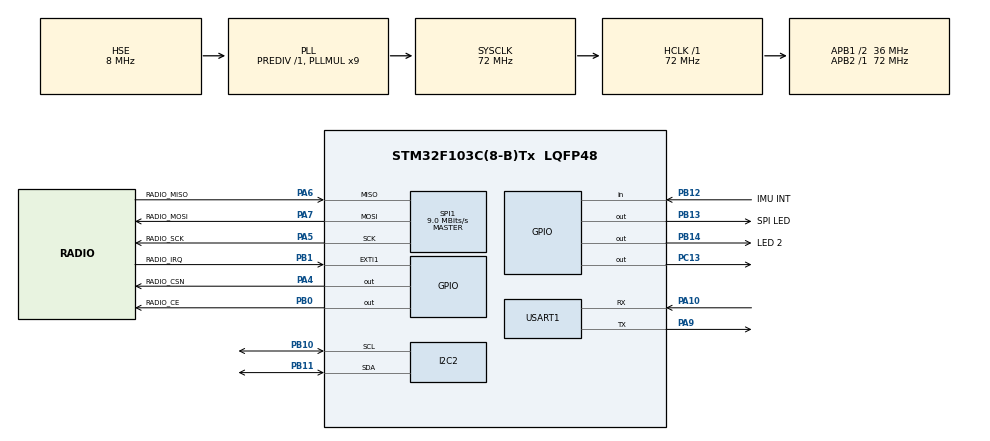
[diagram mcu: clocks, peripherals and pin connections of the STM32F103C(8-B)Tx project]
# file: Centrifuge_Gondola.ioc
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I2C2.I2C_Mode=I2C_Standard
Mcu.Family=STM32F1
Mcu.Name=STM32F103C(8-B)Tx
Mcu.Package=LQFP48
NVIC.EXTI1_IRQn=true\:0\:0\:false\:false\:true\:true\:true\:true
NVIC.I2C2_ER_IRQn=true\:0\:0\:false\:false\:true\:true\:true\:true
NVIC.I2C2_EV_IRQn=true\:0\:0\:false\:false\:true\:true\:true\:true
NVIC.PriorityGroup=NVIC_PRIORITYGROUP_4
NVIC.SPI1_IRQn=true\:0\:0\:false\:false\:true\:true\:true\:true
NVIC.USART1_IRQn=true\:0\:0\:false\:false\:true\:true\:true\:true
PA10.Mode=Asynchronous
PA10.Signal=USART1_RX
PA13.Mode=Serial_Wire
PA13.Signal=SYS_JTMS-SWDIO
PA14.Mode=Serial_Wire
PA14.Signal=SYS_JTCK-SWCLK
PA4.GPIO_Label=RADIO_CSN
PA4.GPIO_Speed=GPIO_SPEED_FREQ_HIGH
PA4.PinState=GPIO_PIN_SET
PA4.Signal=GPIO_Output
PA5.GPIO_Label=RADIO_SCK
PA5.Mode=Full_Duplex_Master
PA5.Signal=SPI1_SCK
PA6.GPIO_Label=RADIO_MISO
PA6.Mode=Full_Duplex_Master
PA6.Signal=SPI1_MISO
PA7.GPIO_Label=RADIO_MOSI
PA7.Mode=Full_Duplex_Master
PA7.Signal=SPI1_MOSI
PA9.Mode=Asynchronous
PA9.Signal=USART1_TX
PB0.GPIO_Label=RADIO_CE
PB0.GPIO_Speed=GPIO_SPEED_FREQ_HIGH
PB0.Signal=GPIO_Output
PB1.GPIO_Label=RADIO_IRQ
PB1.GPIO_ModeDefaultEXTI=GPIO_MODE_IT_FALLING
PB1.Signal=GPXTI1
PB10.Mode=I2C
PB10.Signal=I2C2_SCL
PB11.Mode=I2C
PB11.Signal=I2C2_SDA
PB12.GPIO_Label=IMU INT
PB12.Signal=GPIO_Input
PB13.GPIO_Label=SPI LED
PB13.Signal=GPIO_Output
PB14.GPIO_Label=LED 2
PB14.Signal=GPIO_Output
PC13-TAMPER-RTC.Signal=GPIO_Output
PD0-OSC_IN.Mode=HSE-External-Oscillator
PD0-OSC_IN.Signal=RCC_OSC_IN
PD1-OSC_OUT.Mode=HSE-External-Oscillator
PD1-OSC_OUT.Signal=RCC_OSC_OUT
ProjectManager.HeapSize=0x200
ProjectManager.StackSize=0x400
ProjectManager.TargetToolchain=STM32CubeIDE
RCC.AHBFreq_Value=72000000
RCC.APB1CLKDivider=RCC_HCLK_DIV2
RCC.APB1Freq_Value=36000000
RCC.APB1TimFreq_Value=72000000
RCC.APB2Freq_Value=72000000
RCC.APB2TimFreq_Value=72000000
RCC.HCLKFreq_Value=72000000
RCC.PLLMUL=RCC_PLL_MUL9
RCC.PLLSourceVirtual=RCC_PLLSOURCE_HSE
RCC.SYSCLKFreq_VALUE=72000000
RCC.SYSCLKSource=RCC_SYSCLKSOURCE_PLLCLK
RCC.USBFreq_Value=72000000
SPI1.BaudRatePrescaler=SPI_BAUDRATEPRESCALER_8
SPI1.CalculateBaudRate=9.0 MBits/s
SPI1.Direction=SPI_DIRECTION_2LINES
SPI1.Mode=SPI_MODE_MASTER
SPI1.VirtualType=VM_MASTER
USART1.VirtualMode=VM_ASYNC
board=custom

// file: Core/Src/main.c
/* USER CODE BEGIN Header */
/**
  ******************************************************************************
  * @file           : main.c
  * @brief          : Main program body
  ******************************************************************************
  * @attention
  *
  * Copyright (c) 2025 STMicroelectronics.
  * All rights reserved.
  *
  * This software is licensed under terms that can be found in the LICENSE file
  * in the root directory of this software component.
  * If no LICENSE file comes with this software, it is provided AS-IS.
  *
  ******************************************************************************
  */
/* USER CODE END Header */
#include "main.h"
#include "i2c.h"
#include "spi.h"
#include "usart.h"
#include "gpio.h"

/* USER CODE BEGIN Includes */
#include <stdio.h>
#include "nrf24l01p.h"
#include "MPU6050.h"
#include <string.h>
/* USER CODE END Includes */

/* USER CODE BEGIN PV */
uint8_t rx_buff[1] = {0};
uint8_t led = 0;
uint16_t ledTimer = 0;
uint16_t uartTimer = 0;

/* USER CODE END PV */

void SystemClock_Config(void);
/* USER CODE BEGIN PFP */

// for rx interrupt
void HAL_GPIO_EXTI_Callback(uint16_t GPIO_Pin);
void nrf24l01p_dump_registers(void);

/* USER CODE END PFP */

int main(void)
{

  /* MCU Configuration--------------------------------------------------------*/

  /* Reset of all peripherals, Initializes the Flash interface and the Systick. */
  HAL_Init();

  /* Configure the system clock */
  SystemClock_Config();

  /* Initialize all configured peripherals */
  MX_GPIO_Init();
  MX_SPI1_Init();
  MX_I2C2_Init();
  MX_USART1_UART_Init();
  /* USER CODE BEGIN 2 */
  MPU6050_Initialization();
  nrf24l01p_tx_init(2500, _250kbps);

  uint8_t en_aa = read_register(NRF24L01P_REG_EN_AA);
  en_aa &= ~(1 << 0);           // Disable AA on pipe 0
  write_register(NRF24L01P_REG_EN_AA, en_aa);

  /* USER CODE END 2 */

  /* Infinite loop */
  while (1)
  {

    /* USER CODE BEGIN 3 */

	  // transmit
	  if(MPU6050_DataReady() == 1)
		{
		    HAL_GPIO_TogglePin(GPIOB, GPIO_PIN_13);
			MPU6050_ProcessData(&MPU6050);
			uint8_t tx_data[NRF24L01P_PAYLOAD_LENGTH] = {MPU6050.acc_x_raw & 0xFF, (MPU6050.acc_x_raw >> 8) & 0xFF, MPU6050.acc_y_raw & 0xFF, (MPU6050.acc_y_raw >> 8) & 0xFF, MPU6050.acc_z_raw & 0xFF, (MPU6050.acc_z_raw >> 8) & 0xFF,
														MPU6050.temperature_raw & 0xFF, (MPU6050.temperature_raw >> 8) & 0xFF,
														MPU6050.gyro_x_raw & 0xFF, (MPU6050.gyro_x_raw >> 8) & 0xFF, MPU6050.gyro_y_raw & 0xFF, (MPU6050.gyro_y_raw >> 8) & 0xFF, MPU6050.gyro_z_raw & 0xFF, (MPU6050.gyro_z_raw >> 8) & 0xFF
													   };
			nrf24l01p_tx_transmit(tx_data);

//			char msg[128];
//
//			snprintf(msg, sizeof(msg),
//			         "AX:%.2f AY:%.2f AZ:%.2f TEMP:%.2f GX:%.2f GY:%.2f GZ:%.2f\r\n",
//			         MPU6050.acc_x_raw / 2048.f,
//			         MPU6050.acc_y_raw / 2048.f,
//			         MPU6050.acc_z_raw / 2048.f,
//			         MPU6050.temperature_raw / 340 + 36.53,
//			         MPU6050.gyro_x_raw / 65.5f,
//			         MPU6050.gyro_y_raw / 65.5f,
//			         MPU6050.gyro_z_raw / 65.5f);
//
//			HAL_UART_Transmit(&huart1, (uint8_t*)msg, strlen(msg), HAL_MAX_DELAY);

		}

//	  uint8_t tx_data[NRF24L01P_PAYLOAD_LENGTH];
//		nrf24l01p_tx_transmit(tx_data);
//
//		  // for serial monitor

//		HAL_Delay(100);

	  // LED loop always runs
	  ledTimer ++;
	  if(ledTimer > 200){
//		  nrf24l01p_dump_registers();
//		  HAL_UART_Transmit_IT(&huart1, &status, 1);
		  ledTimer = 0;
		  led = !led;
		  if(led){
			  HAL_GPIO_WritePin(GPIOC, GPIO_PIN_13, GPIO_PIN_SET);
		  }else{
			  HAL_GPIO_WritePin(GPIOC, GPIO_PIN_13, GPIO_PIN_RESET);
		  }
	  }

	  // if failed to send message, then reset the radio
	  if (tx_failed) {
		  tx_failed = false;
		  nrf24l01p_tx_init(2500, _250kbps);
	  }

	  // if radio lost power, reset the radio
	  uint8_t rf_ch = read_register(NRF24L01P_REG_RF_CH);
	  if (rf_ch != 0x64) {  // 0x64 is your desired channel
	      nrf24l01p_tx_init(2500, _250kbps);

	      uint8_t en_aa = read_register(NRF24L01P_REG_EN_AA);
	      en_aa &= ~(1 << 0);           // Disable AA on pipe 0
	      write_register(NRF24L01P_REG_EN_AA, en_aa);
	  }

	  uint8_t status = read_register(NRF24L01P_REG_STATUS);
	  if (status == 0xFF || status == 0x00) {
	      // Radio is not responding
	      nrf24l01p_tx_init(2500, _250kbps);

	      uint8_t en_aa = read_register(NRF24L01P_REG_EN_AA);
	      en_aa &= ~(1 << 0);           // Disable AA on pipe 0
	      write_register(NRF24L01P_REG_EN_AA, en_aa);
	  }

	  uint8_t observe_tx = read_register(NRF24L01P_REG_OBSERVE_TX);
	  uint8_t plos_cnt = (observe_tx >> 4) & 0x0F;

	  if (plos_cnt > 0) {
	      // Transmission failed, reinit radio
		  nrf24l01p_tx_init(2500, _250kbps);

		  uint8_t en_aa = read_register(NRF24L01P_REG_EN_AA);
		  en_aa &= ~(1 << 0);           // Disable AA on pipe 0
		  write_register(NRF24L01P_REG_EN_AA, en_aa);
	  }

	  HAL_Delay(1);
  }
  /* USER CODE END 3 */
}

void SystemClock_Config(void)
{
  RCC_OscInitTypeDef RCC_OscInitStruct = {0};
  RCC_ClkInitTypeDef RCC_ClkInitStruct = {0};

  /** Initializes the RCC Oscillators according to the specified parameters
  * in the RCC_OscInitTypeDef structure.
  */
  RCC_OscInitStruct.OscillatorType = RCC_OSCILLATORTYPE_HSE;
  RCC_OscInitStruct.HSEState = RCC_HSE_ON;
  RCC_OscInitStruct.HSEPredivValue = RCC_HSE_PREDIV_DIV1;
  RCC_OscInitStruct.HSIState = RCC_HSI_ON;
  RCC_OscInitStruct.PLL.PLLState = RCC_PLL_ON;
  RCC_OscInitStruct.PLL.PLLSource = RCC_PLLSOURCE_HSE;
  RCC_OscInitStruct.PLL.PLLMUL = RCC_PLL_MUL9;
  if (HAL_RCC_OscConfig(&RCC_OscInitStruct) != HAL_OK)
  {
    Error_Handler();
  }

  /** Initializes the CPU, AHB and APB buses clocks
  */
  RCC_ClkInitStruct.ClockType = RCC_CLOCKTYPE_HCLK|RCC_CLOCKTYPE_SYSCLK
                              |RCC_CLOCKTYPE_PCLK1|RCC_CLOCKTYPE_PCLK2;
  RCC_ClkInitStruct.SYSCLKSource = RCC_SYSCLKSOURCE_PLLCLK;
  RCC_ClkInitStruct.AHBCLKDivider = RCC_SYSCLK_DIV1;
  RCC_ClkInitStruct.APB1CLKDivider = RCC_HCLK_DIV2;
  RCC_ClkInitStruct.APB2CLKDivider = RCC_HCLK_DIV1;

  if (HAL_RCC_ClockConfig(&RCC_ClkInitStruct, FLASH_LATENCY_2) != HAL_OK)
  {
    Error_Handler();
  }
}

/* USER CODE BEGIN 4 */

//	void HAL_UART_RxCpltCallback(UART_HandleTypeDef *huart){
//		  HAL_UART_Receive_IT(&huart1, rx_buff, 1);
//		  HAL_UART_Transmit_IT(&huart1, rx_buff, 1);
//	}

	void HAL_GPIO_EXTI_Callback(uint16_t GPIO_Pin)
	{

		if(GPIO_Pin == NRF24L01P_IRQ_PIN_NUMBER) {
//			HAL_GPIO_WritePin(GPIOB, GPIO_PIN_13, GPIO_PIN_SET);
			nrf24l01p_tx_irq(); // clear interrupt flag
//		    uint8_t success_arr[] = {'y','\n'};
//		    HAL_UART_Transmit_IT(&huart1, success_arr, 2);
//			HAL_GPIO_TogglePin(GPIOB, GPIO_PIN_13);
//			HAL_GPIO_WritePin(GPIOB, GPIO_PIN_13, GPIO_PIN_RESET);
		}

	}

	void nrf24l01p_dump_registers(void) {
//	    char buf[64];
//	    uint8_t val[5];
//
//	    // CONFIG (0x00)
//	    snprintf(buf, sizeof(buf), "CONFIG     = 0x%02X\r\n", read_register(0x00));
//	    HAL_UART_Transmit(&huart1, (uint8_t*)buf, strlen(buf), HAL_MAX_DELAY);
//
//	    // RF_CH (0x05)
//	    snprintf(buf, sizeof(buf), "RF_CH      = 0x%02X\r\n", read_register(0x05));
//	    HAL_UART_Transmit(&huart1, (uint8_t*)buf, strlen(buf), HAL_MAX_DELAY);
//
//	    // RF_SETUP (0x06)
//	    snprintf(buf, sizeof(buf), "RF_SETUP   = 0x%02X\r\n", read_register(0x06));
//	    HAL_UART_Transmit(&huart1, (uint8_t*)buf, strlen(buf), HAL_MAX_DELAY);
//
//	    // STATUS (0x07)
//	    snprintf(buf, sizeof(buf), "STATUS     = 0x%02X\r\n", read_register(0x07));
//	    HAL_UART_Transmit(&huart1, (uint8_t*)buf, strlen(buf), HAL_MAX_DELAY);
//
//	    // FIFO_STATUS (0x17)
//	    snprintf(buf, sizeof(buf), "FIFO_STAT  = 0x%02X\r\n", read_register(0x17));
//	    HAL_UART_Transmit(&huart1, (uint8_t*)buf, strlen(buf), HAL_MAX_DELAY);
//
//	    // TX_ADDR (0x10) - 5 bytes
//	    read_register(0x10, val, 5);
//	    snprintf(buf, sizeof(buf), "TX_ADDR    = %02X %02X %02X %02X %02X\r\n", val[0], val[1], val[2], val[3], val[4]);
//	    HAL_UART_Transmit(&huart1, (uint8_t*)buf, strlen(buf), HAL_MAX_DELAY);
//
//	    // RX_ADDR_P0 (0x0A) - 5 bytes
//	    read_register(0x0A, val, 5);
//	    snprintf(buf, sizeof(buf), "RX_ADDR_P0 = %02X %02X %02X %02X %02X\r\n", val[0], val[1], val[2], val[3], val[4]);
//	    HAL_UART_Transmit(&huart1, (uint8_t*)buf, strlen(buf), HAL_MAX_DELAY);
//
//	    // RX_ADDR_P1 (0x0B) - 5 bytes
//	    read_register(0x0B, val, 5);
//	    snprintf(buf, sizeof(buf), "RX_ADDR_P1 = %02X %02X %02X %02X %02X\r\n", val[0], val[1], val[2], val[3], val[4]);
//	    HAL_UART_Transmit(&huart1, (uint8_t*)buf, strlen(buf), HAL_MAX_DELAY);

	    char buf[64];

	    // CONFIG (0x00)
	    snprintf(buf, sizeof(buf), "CONFIG     = 0x%02X\r\n", read_register(0x00));
	    HAL_UART_Transmit(&huart1, (uint8_t*)buf, strlen(buf), HAL_MAX_DELAY);

	    // RF_CH (0x05)
	    snprintf(buf, sizeof(buf), "RF_CH      = 0x%02X\r\n", read_register(0x05));
	    HAL_UART_Transmit(&huart1, (uint8_t*)buf, strlen(buf), HAL_MAX_DELAY);

	    // RF_SETUP (0x06)
	    snprintf(buf, sizeof(buf), "RF_SETUP   = 0x%02X\r\n", read_register(0x06));
	    HAL_UART_Transmit(&huart1, (uint8_t*)buf, strlen(buf), HAL_MAX_DELAY);

	    // STATUS (0x07)
	    snprintf(buf, sizeof(buf), "STATUS     = 0x%02X\r\n", read_register(0x07));
	    HAL_UART_Transmit(&huart1, (uint8_t*)buf, strlen(buf), HAL_MAX_DELAY);

	    // FIFO_STATUS (0x17)
	    snprintf(buf, sizeof(buf), "FIFO_STAT  = 0x%02X\r\n", read_register(0x17));
	    HAL_UART_Transmit(&huart1, (uint8_t*)buf, strlen(buf), HAL_MAX_DELAY);

	    // TX_ADDR (0x10) - 5 bytes
	    snprintf(buf, sizeof(buf), "TX_ADDR    = 0x%02X\r\n", read_register(0x10));
	    HAL_UART_Transmit(&huart1, (uint8_t*)buf, strlen(buf), HAL_MAX_DELAY);

	    snprintf(buf, sizeof(buf), "RX_ADDR_P0    = 0x%02X\r\n", read_register(0x0A));
		HAL_UART_Transmit(&huart1, (uint8_t*)buf, strlen(buf), HAL_MAX_DELAY);

		snprintf(buf, sizeof(buf), "RX_ADDR_P1    = 0x%02X\r\n", read_register(0x0B));
		HAL_UART_Transmit(&huart1, (uint8_t*)buf, strlen(buf), HAL_MAX_DELAY);

	}

/* USER CODE END 4 */

void Error_Handler(void)
{
  __disable_irq();
  while (1)
  {
  }
}
